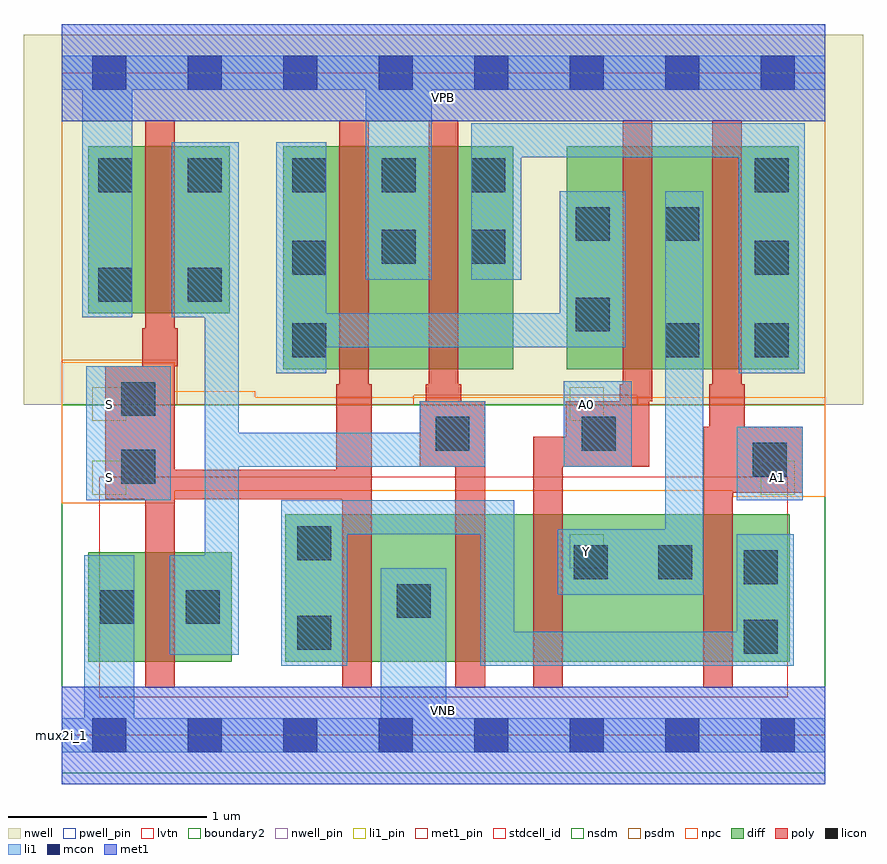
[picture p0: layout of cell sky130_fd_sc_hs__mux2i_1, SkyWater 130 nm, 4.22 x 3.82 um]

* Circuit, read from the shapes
.subckt sky130_fd_sc_hs__mux2i_1 A0 A1 S VGND VNB VPB VPWR Y
XM1 n1 S VGND VNB sky130_fd_pr__nfet_01v8_lvt w=0.55 l=0.15
XM2 VGND S n2 VNB sky130_fd_pr__nfet_01v8_lvt w=0.74 l=0.15
XM3 n3 n1 VGND VNB sky130_fd_pr__nfet_01v8_lvt w=0.74 l=0.15
XM4 Y A0 n3 VNB sky130_fd_pr__nfet_01v8_lvt w=0.74 l=0.15
XM5 n2 A1 Y VNB sky130_fd_pr__nfet_01v8_lvt w=0.74 l=0.15
XM6 n1 S VPWR VPB sky130_fd_pr__pfet_01v8 w=0.84 l=0.15
XM7 VPWR S n4 VPB sky130_fd_pr__pfet_01v8 w=1.12 l=0.15
XM8 n5 n1 VPWR VPB sky130_fd_pr__pfet_01v8 w=1.12 l=0.15
XM9 Y A0 n4 VPB sky130_fd_pr__pfet_01v8 w=1.12 l=0.15
XM10 n5 A1 Y VPB sky130_fd_pr__pfet_01v8 w=1.12 l=0.15
.ends

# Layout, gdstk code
import gdstk
lib = gdstk.Library(unit=1e-6, precision=1e-09)
def R(c, l, rs):  # rectangles x0, y0, x1, y1
    for r in rs: c.add(gdstk.rectangle(r[:2], r[2:], *l))
def A(c, l, x, y, w, h, nx, ny, dx, dy):  # array of equal rectangles
    R(c, l, [(x+i*dx, y+j*dy, x+i*dx+w, y+j*dy+h) for i in range(nx) for j in range(ny)])
def P(c, l, *ps):  # polygons
    for p in ps: c.add(gdstk.Polygon(p, *l))
nwell_pin = (64, 16)
nwell = (64, 20)
diff = (65, 20)
poly = (66, 20)
licon = (66, 44)
li1_pin = (67, 16)
li1 = (67, 20)
mcon = (67, 44)
met1_pin = (68, 16)
met1 = (68, 20)
stdcell_id = (81, 4)
nsdm = (93, 44)
psdm = (94, 20)
npc = (95, 20)
pwell_pin = (122, 16)
lvtn = (125, 44)
boundary2 = (236, 0)

sky130_fd_sc_hs__mux2i_1 = lib.new_cell('sky130_fd_sc_hs__mux2i_1')
R(sky130_fd_sc_hs__mux2i_1, nwell_pin, [(0,3.085,3.84,3.33)])
R(sky130_fd_sc_hs__mux2i_1, nwell, [(-0.19,1.66,4.03,3.52)])
R(sky130_fd_sc_hs__mux2i_1, diff, [(0.135,0.37,0.855,0.92), (1.125,0.37,3.66,1.11), (1.115,1.84,2.27,2.96), (2.54,1.84,3.705,2.96), (0.135,2.12,0.845,2.96)])
P(sky130_fd_sc_hs__mux2i_1, poly, [(3.725,1.55),(3.435,1.55),(3.435,1.765),(3.42,1.765),(3.42,3.09),(3.27,3.09),(3.27,1.765),(3.255,1.765),(3.255,1.55),(3.225,1.55),(3.225,0.24),(3.375,0.24),(3.375,1.22),(3.725,1.22)],
  [(2.97,3.09),(2.82,3.09),(2.82,1.765),(2.805,1.765),(2.805,1.68),(2.535,1.68),(2.535,1.5),(2.37,1.5),(2.37,0.24),(2.52,0.24),(2.52,1.35),(2.955,1.35),(2.955,1.68),(2.97,1.68)],
  [(2.13,1.68),(2.01,1.68),(2.01,1.765),(1.995,1.765),(1.995,3.09),(1.845,3.09),(1.845,1.765),(1.83,1.765),(1.83,1.68),(1.8,1.68),(1.8,1.35),(1.98,1.35),(1.98,0.24),(2.13,0.24)],
  [(1.56,1.765),(1.545,1.765),(1.545,3.09),(1.395,3.09),(1.395,1.765),(1.38,1.765),(1.38,1.335),(0.57,1.335),(0.57,1.855),(0.585,1.855),(0.585,2.045),(0.57,2.045),(0.57,3.09),(0.42,3.09),(0.42,2.045),(0.405,2.045),(0.405,1.855),(0.22,1.855),(0.22,1.185),(0.42,1.185),(0.42,0.24),(0.57,0.24),(0.57,1.185),(1.41,1.185),(1.41,0.24),(1.56,0.24)])
A(sky130_fd_sc_hs__mux2i_1, licon, 3.485, 1.9, 0.17, 0.17, 1, 3, 0, 0.415)
A(sky130_fd_sc_hs__mux2i_1, licon, 1.16, 2.73, 0.17, 0.17, 3, 1, 0.45, 0)
R(sky130_fd_sc_hs__mux2i_1, licon, [(3.43,0.41,3.6,0.58), (1.185,0.43,1.355,0.6), (0.195,0.56,0.365,0.73), (0.625,0.56,0.795,0.73), (1.685,0.59,1.855,0.76), (3.43,0.76,3.6,0.93), (2.575,0.785,2.745,0.955), (3,0.785,3.17,0.955), (1.185,0.88,1.355,1.05), (0.3,1.265,0.47,1.435), (3.475,1.3,3.645,1.47), (1.88,1.43,2.05,1.6), (2.615,1.43,2.785,1.6), (0.3,1.605,0.47,1.775), (1.16,1.9,1.33,2.07), (3.035,1.9,3.205,2.07), (2.585,2.03,2.755,2.2), (0.185,2.18,0.355,2.35), (0.635,2.18,0.805,2.35), (1.16,2.315,1.33,2.485), (1.61,2.37,1.78,2.54), (2.06,2.37,2.23,2.54), (2.585,2.485,2.755,2.655), (3.035,2.485,3.205,2.655), (0.185,2.73,0.355,2.9), (0.635,2.73,0.805,2.9)])
R(sky130_fd_sc_hs__mux2i_1, li1_pin, [(2.555,0.84,2.725,1.01), (0.155,1.21,0.325,1.38), (3.515,1.21,3.685,1.38), (0.155,1.58,0.325,1.75), (2.555,1.58,2.725,1.75)])
R(sky130_fd_sc_hs__mux2i_1, li1, [(0.125,1.18,0.55,1.855), (3.395,1.18,3.725,1.55), (2.525,1.35,2.865,1.78)])
P(sky130_fd_sc_hs__mux2i_1, li1, [(0.105,2.1),(0.105,3.245),(0,3.245),(0,3.415),(3.84,3.415),(3.84,3.245),(1.86,3.245),(1.86,2.29),(1.53,2.29),(1.53,3.245),(0.355,3.245),(0.355,2.1)],
  [(0.115,0.085),(0.115,0.905),(0.365,0.905),(0.365,0.085),(1.605,0.085),(1.605,0.84),(1.935,0.84),(1.935,0.085),(3.84,0.085),(3.84,-0.085),(0,-0.085),(0,0.085)],
  [(2.275,1.18),(2.275,0.52),(3.395,0.52),(3.395,1.01),(3.68,1.01),(3.68,0.35),(2.105,0.35),(2.105,1.01),(1.435,1.01),(1.435,0.35),(1.105,0.35),(1.105,1.18)],
  [(0.89,1.52),(1.8,1.52),(1.8,1.68),(2.13,1.68),(2.13,1.35),(0.89,1.35),(0.89,0.405),(0.545,0.405),(0.545,0.905),(0.72,0.905),(0.72,2.1),(0.555,2.1),(0.555,2.98),(0.89,2.98)],
  [(3.035,1.035),(3.035,2.735),(3.225,2.735),(3.225,0.705),(2.495,0.705),(2.495,1.035)],
  [(3.405,1.82),(3.405,2.905),(2.31,2.905),(2.31,2.29),(2.06,2.29),(2.06,3.075),(3.735,3.075),(3.735,1.82)],
  [(2.505,2.12),(2.505,2.735),(2.835,2.735),(2.835,1.95),(1.33,1.95),(1.33,1.82),(1.08,1.82),(1.08,2.98),(1.33,2.98),(1.33,2.12)])
A(sky130_fd_sc_hs__mux2i_1, mcon, 0.155, -0.085, 0.17, 0.17, 8, 2, 0.48, 3.33)
R(sky130_fd_sc_hs__mux2i_1, met1_pin, [(0,0,3.84,0.245), (0,3.085,3.84,3.33)])
R(sky130_fd_sc_hs__mux2i_1, met1, [(0,-0.245,3.84,0.245), (0,3.085,3.84,3.575)])
R(sky130_fd_sc_hs__mux2i_1, stdcell_id, [(0,0,3.84,3.33)])
R(sky130_fd_sc_hs__mux2i_1, nsdm, [(0,-0.19,3.84,1.66)])
P(sky130_fd_sc_hs__mux2i_1, psdm, [(3.84,3.52),(0,3.52),(0,1.885),(0.58,1.885),(0.58,1.66),(1.77,1.66),(1.77,1.71),(2.895,1.71),(2.895,1.66),(3.84,1.66)])
P(sky130_fd_sc_hs__mux2i_1, npc, [(3.84,1.7),(0.975,1.7),(0.975,1.73),(0.57,1.73),(0.57,1.875),(0,1.875),(0,1.165),(0.57,1.165),(0.57,1.23),(3.375,1.23),(3.375,1.2),(3.84,1.2)])
R(sky130_fd_sc_hs__mux2i_1, pwell_pin, [(0,0,3.84,0.245)])
R(sky130_fd_sc_hs__mux2i_1, lvtn, [(0.19,0.19,3.65,1.3)])
R(sky130_fd_sc_hs__mux2i_1, boundary2, [(0,0,3.84,3.33)])
sky130_fd_sc_hs__mux2i_1.add(gdstk.Label('mux2i_1', (0,0), layer=83, texttype=44))
sky130_fd_sc_hs__mux2i_1.add(gdstk.Label('VNB', (1.92,0.123), layer=64, texttype=59))
sky130_fd_sc_hs__mux2i_1.add(gdstk.Label('VPB', (1.92,3.208), layer=64, texttype=5))
sky130_fd_sc_hs__mux2i_1.add(gdstk.Label('VPWR', (1.92,3.208), layer=68, texttype=5))
sky130_fd_sc_hs__mux2i_1.add(gdstk.Label('VGND', (1.92,0.123), layer=68, texttype=5))
sky130_fd_sc_hs__mux2i_1.add(gdstk.Label('S', (0.24,1.295), layer=67, texttype=5))
sky130_fd_sc_hs__mux2i_1.add(gdstk.Label('S', (0.24,1.665), layer=67, texttype=5))
sky130_fd_sc_hs__mux2i_1.add(gdstk.Label('A1', (3.6,1.295), layer=67, texttype=5))
sky130_fd_sc_hs__mux2i_1.add(gdstk.Label('A0', (2.64,1.665), layer=67, texttype=5))
sky130_fd_sc_hs__mux2i_1.add(gdstk.Label('Y', (2.64,0.925), layer=67, texttype=5))

lib.write_gds('sky130_fd_sc_hs__mux2i_1.gds')
